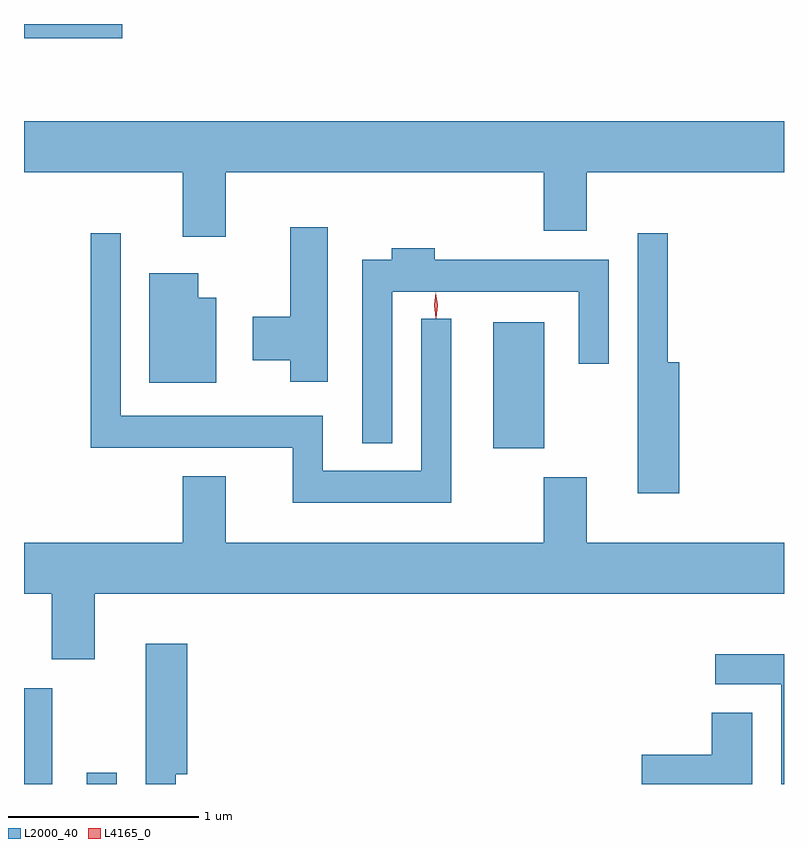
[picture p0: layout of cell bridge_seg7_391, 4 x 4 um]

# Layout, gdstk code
import gdstk
lib = gdstk.Library(unit=1e-6, precision=1e-09)
def R(c, l, rs):  # rectangles x0, y0, x1, y1
    for r in rs: c.add(gdstk.rectangle(r[:2], r[2:], *l))
def P(c, l, *ps):  # polygons
    for p in ps: c.add(gdstk.Polygon(p, *l))
L2000_40 = (2000, 40)
L4165_0 = (4165, 0)

bridge_seg7_391 = lib.new_cell('bridge_seg7_391')
R(bridge_seg7_391, L2000_40, [(1146.666,1744.395,1146.814,1744.899), (1146.996,1744.395,1147.154,1744.453), (1149.136,1746.161,1149.404,1746.824), (1146.666,1748.321,1147.184,1748.395)])
P(bridge_seg7_391, L2000_40, [(1147.729,1747.616),(1149.401,1747.616),(1149.401,1747.306),(1149.629,1747.306),(1149.629,1747.616),(1150.666,1747.616),(1150.666,1747.884),(1146.666,1747.884),(1146.666,1747.616),(1147.501,1747.616),(1147.501,1747.276),(1147.729,1747.276)],
  [(1148.264,1747.324),(1148.066,1747.324),(1148.066,1746.854),(1147.871,1746.854),(1147.871,1746.626),(1148.066,1746.626),(1148.066,1746.511),(1148.264,1746.511)],
  [(1150.114,1746.614),(1150.054,1746.614),(1150.054,1747.293),(1149.896,1747.293),(1149.896,1745.926),(1150.114,1745.926)],
  [(1148.914,1746.843),(1148.756,1746.843),(1148.756,1746.044),(1148.239,1746.044),(1148.239,1746.334),(1147.174,1746.334),(1147.174,1747.293),(1147.016,1747.293),(1147.016,1746.166),(1148.081,1746.166),(1148.081,1745.876),(1148.914,1745.876)],
  [(1148.604,1746.986),(1149.586,1746.986),(1149.586,1746.608),(1149.744,1746.608),(1149.744,1747.154),(1148.829,1747.154),(1148.829,1747.214),(1148.601,1747.214),(1148.601,1747.154),(1148.446,1747.154),(1148.446,1746.188),(1148.604,1746.188)],
  [(1147.679,1746.954),(1147.584,1746.954),(1147.584,1747.084),(1147.326,1747.084),(1147.326,1746.506),(1147.679,1746.506)],
  [(1147.039,1745.396),(1150.666,1745.396),(1150.666,1745.664),(1149.629,1745.664),(1149.629,1746.009),(1149.401,1746.009),(1149.401,1745.664),(1147.729,1745.664),(1147.729,1746.014),(1147.501,1746.014),(1147.501,1745.664),(1146.666,1745.664),(1146.666,1745.396),(1146.811,1745.396),(1146.811,1745.051),(1147.039,1745.051)],
  [(1147.464,1744.446),(1147.524,1744.446),(1147.524,1745.134),(1147.306,1745.134),(1147.306,1744.395),(1147.464,1744.395)],
  [(1150.666,1745.079),(1150.303,1745.079),(1150.303,1744.921),(1150.651,1744.921),(1150.651,1744.395),(1150.666,1744.395)],
  [(1150.499,1744.769),(1150.286,1744.769),(1150.286,1744.549),(1149.916,1744.549),(1149.916,1744.395),(1150.499,1744.395)])
P(bridge_seg7_391, L4165_0, [(1148.834,1746.847),(1148.834,1746.847),(1148.824,1746.914),(1148.833,1746.98),(1148.834,1746.98),(1148.834,1746.98),(1148.844,1746.914),(1148.835,1746.847)])

lib.write_gds('bridge_seg7_391.gds')
